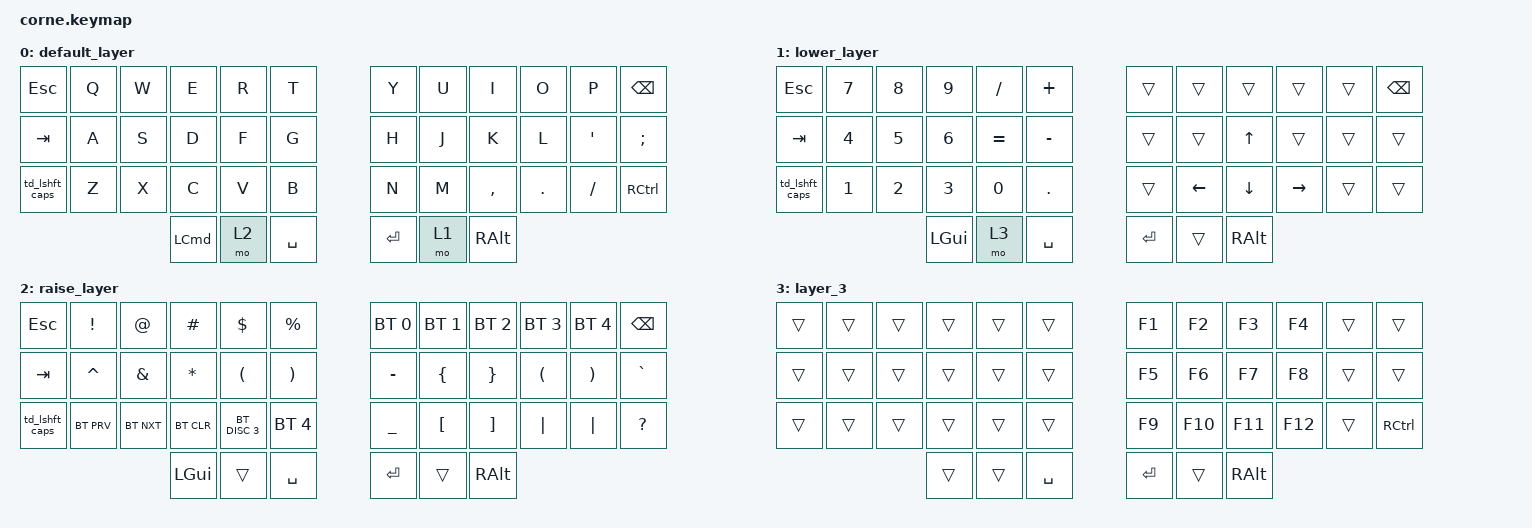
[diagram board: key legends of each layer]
#include <behaviors.dtsi>
#include <dt-bindings/zmk/bt.h>
#include <dt-bindings/zmk/keys.h>

/ {
    combos { compatible = "zmk,combos"; };

    behaviors {
        td_lshft_caps: td_lshft_caps {
            compatible = "zmk,behavior-tap-dance";
            label = "TD_LSHFT_CAPS";
            #binding-cells = <0>;
            tapping-term-ms = <200>;
            bindings = <&kp LSHFT>, <&kp CAPS>;
        };
    };

    keymap {
        compatible = "zmk,keymap";

        default_layer {
            bindings = <
&kp ESC         &kp Q  &kp W  &kp E     &kp R  &kp T        &kp Y    &kp U  &kp I          &kp O    &kp P     &kp BSPC
&kp TAB         &kp A  &kp S  &kp D     &kp F  &kp G        &kp H    &kp J  &kp K          &kp L    &kp SQT   &kp SEMICOLON
&td_lshft_caps  &kp Z  &kp X  &kp C     &kp V  &kp B        &kp N    &kp M  &kp COMMA      &kp DOT  &kp FSLH  &kp RCTRL
                              &kp LCMD  &mo 2  &kp SPACE    &kp RET  &mo 1  &kp RIGHT_ALT
            >;
        };

        lower_layer {
            bindings = <
&kp ESC         &kp NUMBER_7  &kp N8        &kp NUMBER_9  &kp SLASH  &kp PLUS      &trans   &trans          &trans          &trans           &trans  &kp BACKSPACE
&kp TAB         &kp NUMBER_4  &kp NUMBER_5  &kp NUMBER_6  &kp EQUAL  &kp MINUS     &trans   &trans          &kp UP_ARROW    &trans           &trans  &trans
&td_lshft_caps  &kp NUMBER_1  &kp NUMBER_2  &kp NUMBER_3  &kp N0     &kp PERIOD    &trans   &kp LEFT_ARROW  &kp DOWN_ARROW  &kp RIGHT_ARROW  &trans  &trans
                                            &kp LGUI      &mo 3      &kp SPACE     &kp RET  &trans          &kp RALT
            >;
        };

        raise_layer {
            bindings = <
&kp ESCAPE      &kp EXCLAMATION  &kp AT_SIGN    &kp HASH      &kp DOLLAR            &kp PERCENT              &bt BT_SEL 0    &bt BT_SEL 1      &bt BT_SEL 2       &bt BT_SEL 3          &bt BT_SEL 4           &kp BACKSPACE
&kp TAB         &kp CARET        &kp AMPERSAND  &kp ASTERISK  &kp LEFT_PARENTHESIS  &kp RIGHT_PARENTHESIS    &kp MINUS       &kp LEFT_BRACE    &kp RIGHT_BRACE    &kp LEFT_PARENTHESIS  &kp RIGHT_PARENTHESIS  &kp GRAVE
&td_lshft_caps  &bt BT_PRV       &bt BT_NXT     &bt BT_CLR    &bt BT_DISC 3         &bt BT_SEL 4             &kp UNDERSCORE  &kp LEFT_BRACKET  &kp RIGHT_BRACKET  &kp PIPE              &kp PIPE               &kp QMARK
                                                &kp LGUI      &trans                &kp SPACE                &kp RET         &trans            &kp RALT
            >;
        };

        layer_3 {
            bindings = <
&trans  &trans  &trans  &trans  &trans  &trans       &kp F1     &kp F2   &kp F3         &kp F4   &trans  &trans
&trans  &trans  &trans  &trans  &trans  &trans       &kp F5     &kp F6   &kp F7         &kp F8   &trans  &trans
&trans  &trans  &trans  &trans  &trans  &trans       &kp F9     &kp F10  &kp F11        &kp F12  &trans  &kp RCTRL
                        &trans  &trans  &kp SPACE    &kp ENTER  &trans   &kp RIGHT_ALT
            >;
        };
    };

    conditional_layers {
        compatible = "zmk,conditional-layers";

        extra_layer {
            if-layers = <1 2>;
            then-layer = <3>;
        };
    };
};
